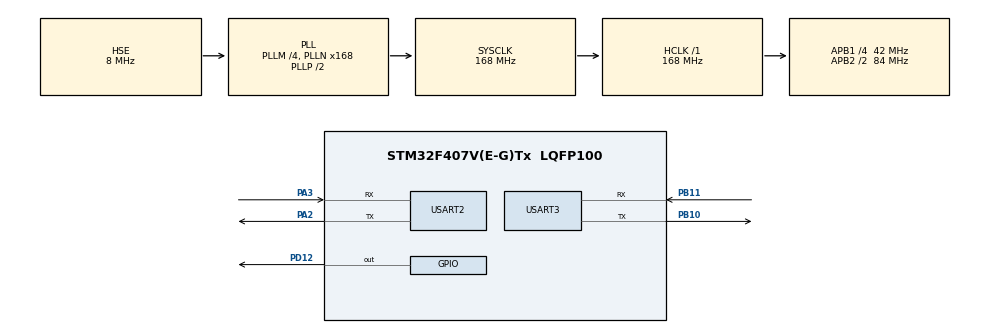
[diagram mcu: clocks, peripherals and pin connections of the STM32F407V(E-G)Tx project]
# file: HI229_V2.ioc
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Dma.Request0=USART2_RX
Dma.USART2_RX.0.Direction=DMA_PERIPH_TO_MEMORY
Dma.USART2_RX.0.FIFOMode=DMA_FIFOMODE_DISABLE
Dma.USART2_RX.0.Instance=DMA1_Stream5
Dma.USART2_RX.0.MemDataAlignment=DMA_MDATAALIGN_BYTE
Dma.USART2_RX.0.MemInc=DMA_MINC_ENABLE
Dma.USART2_RX.0.Mode=DMA_NORMAL
Dma.USART2_RX.0.PeriphDataAlignment=DMA_PDATAALIGN_BYTE
Dma.USART2_RX.0.PeriphInc=DMA_PINC_DISABLE
Dma.USART2_RX.0.Priority=DMA_PRIORITY_LOW
Mcu.Family=STM32F4
Mcu.Name=STM32F407V(E-G)Tx
Mcu.Package=LQFP100
NVIC.DMA1_Stream5_IRQn=true\:0\:0\:false\:false\:true\:false\:true\:true
NVIC.PriorityGroup=NVIC_PRIORITYGROUP_4
NVIC.TIM7_IRQn=true\:0\:0\:false\:false\:true\:true\:true\:true
NVIC.USART2_IRQn=true\:14\:0\:true\:false\:true\:true\:true\:true
NVIC.USART3_IRQn=true\:0\:0\:false\:false\:true\:true\:true\:true
PA2.Mode=Asynchronous
PA2.Signal=USART2_TX
PA3.Mode=Asynchronous
PA3.Signal=USART2_RX
PB10.Mode=Asynchronous
PB10.Signal=USART3_TX
PB11.Mode=Asynchronous
PB11.Signal=USART3_RX
PD12.Signal=GPIO_Output
PH0-OSC_IN.Mode=HSE-External-Oscillator
PH0-OSC_IN.Signal=RCC_OSC_IN
PH1-OSC_OUT.Mode=HSE-External-Oscillator
PH1-OSC_OUT.Signal=RCC_OSC_OUT
ProjectManager.HeapSize=0x200
ProjectManager.StackSize=0x400
ProjectManager.TargetToolchain=MDK-ARM V5.32
RCC.48MHZClocksFreq_Value=84000000
RCC.AHBFreq_Value=168000000
RCC.APB1CLKDivider=RCC_HCLK_DIV4
RCC.APB1Freq_Value=42000000
RCC.APB1TimFreq_Value=84000000
RCC.APB2CLKDivider=RCC_HCLK_DIV2
RCC.APB2Freq_Value=84000000
RCC.APB2TimFreq_Value=168000000
RCC.CortexFreq_Value=168000000
RCC.HCLKFreq_Value=168000000
RCC.HSE_VALUE=8000000
RCC.HSI_VALUE=16000000
RCC.LSE_VALUE=32768
RCC.PLLM=4
RCC.PLLN=168
RCC.PLLSourceVirtual=RCC_PLLSOURCE_HSE
RCC.SYSCLKFreq_VALUE=168000000
RCC.SYSCLKSource=RCC_SYSCLKSOURCE_PLLCLK
RCC.VCOOutputFreq_Value=336000000
TIM7.Period=50000-1
TIM7.Prescaler=336-1
USART2.VirtualMode=VM_ASYNC
USART3.VirtualMode=VM_ASYNC
VP_TIM7_VS_ClockSourceINT.Mode=Enable_Timer
board=custom

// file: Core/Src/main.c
/* USER CODE BEGIN Header */
/**
 ******************************************************************************
 * @file           : main.c
 * @brief          : Main program body
 ******************************************************************************
 * @attention
 *
 * Copyright (c) 2023 STMicroelectronics.
 * All rights reserved.
 *
 * This software is licensed under terms that can be found in the LICENSE file
 * in the root directory of this software component.
 * If no LICENSE file comes with this software, it is provided AS-IS.
 *
 ******************************************************************************
 */
/* USER CODE END Header */
#include "main.h"
#include "dma.h"
#include "tim.h"
#include "usart.h"
#include "gpio.h"

/* USER CODE BEGIN Includes */
#include "stdio.h"
#include "packet.h"
#include "imu_data_decode.h"
/* USER CODE END Includes */

/* USER CODE BEGIN PV */
static uint32_t frame_rate;
static uint8_t usart1_output_flag;
uint8_t Recv_byte;
/* USER CODE END PV */

void SystemClock_Config(void);
/* USER CODE BEGIN PFP */
void dump_data_packet(receive_imusol_packet_t *data); // ??�印?��???
/* USER CODE END PFP */

int main(void)
{
  /* USER CODE BEGIN 1 */
  uint32_t i = 0;
  /* USER CODE END 1 */

  /* MCU Configuration--------------------------------------------------------*/

  /* Reset of all peripherals, Initializes the Flash interface and the Systick. */
  HAL_Init();

  /* Configure the system clock */
  SystemClock_Config();

  /* Initialize all configured peripherals */
  MX_GPIO_Init();
  MX_DMA_Init();
  MX_USART2_UART_Init();
  MX_USART3_UART_Init();
  MX_TIM7_Init();
  /* USER CODE BEGIN 2 */
  HAL_TIM_Base_Start_IT(&htim7);
  imu_data_decode_init();
  HAL_UART_Receive_DMA(&huart2, &Recv_byte, 1);
  /* USER CODE END 2 */

  /* Infinite loop */
  /* USER CODE BEGIN WHILE */
  while (1)
  {
    if (usart1_output_flag)
    {
      usart1_output_flag = 0;
      if (receive_gwsol.tag != KItemGWSOL)
      {
        /* printf imu data packet */
        dump_data_packet(&receive_imusol);
        putchar(10);
      }
      else
      {
        /* printf gw data packet */
        printf("        GW ID:  %-8d\n", receive_gwsol.gw_id);
        for (i = 0; i < receive_gwsol.n; i++)
        {
          dump_data_packet(&receive_gwsol.receive_imusol[i]);
          puts("");
        }
      }
    }

    /* USER CODE END WHILE */

  }
}

void SystemClock_Config(void)
{
  RCC_OscInitTypeDef RCC_OscInitStruct = {0};
  RCC_ClkInitTypeDef RCC_ClkInitStruct = {0};

  /** Configure the main internal regulator output voltage
  */
  __HAL_RCC_PWR_CLK_ENABLE();
  __HAL_PWR_VOLTAGESCALING_CONFIG(PWR_REGULATOR_VOLTAGE_SCALE1);

  /** Initializes the RCC Oscillators according to the specified parameters
  * in the RCC_OscInitTypeDef structure.
  */
  RCC_OscInitStruct.OscillatorType = RCC_OSCILLATORTYPE_HSE;
  RCC_OscInitStruct.HSEState = RCC_HSE_ON;
  RCC_OscInitStruct.PLL.PLLState = RCC_PLL_ON;
  RCC_OscInitStruct.PLL.PLLSource = RCC_PLLSOURCE_HSE;
  RCC_OscInitStruct.PLL.PLLM = 4;
  RCC_OscInitStruct.PLL.PLLN = 168;
  RCC_OscInitStruct.PLL.PLLP = RCC_PLLP_DIV2;
  RCC_OscInitStruct.PLL.PLLQ = 4;
  if (HAL_RCC_OscConfig(&RCC_OscInitStruct) != HAL_OK)
  {
    Error_Handler();
  }

  /** Initializes the CPU, AHB and APB buses clocks
  */
  RCC_ClkInitStruct.ClockType = RCC_CLOCKTYPE_HCLK|RCC_CLOCKTYPE_SYSCLK
                              |RCC_CLOCKTYPE_PCLK1|RCC_CLOCKTYPE_PCLK2;
  RCC_ClkInitStruct.SYSCLKSource = RCC_SYSCLKSOURCE_PLLCLK;
  RCC_ClkInitStruct.AHBCLKDivider = RCC_SYSCLK_DIV1;
  RCC_ClkInitStruct.APB1CLKDivider = RCC_HCLK_DIV4;
  RCC_ClkInitStruct.APB2CLKDivider = RCC_HCLK_DIV2;

  if (HAL_RCC_ClockConfig(&RCC_ClkInitStruct, FLASH_LATENCY_5) != HAL_OK)
  {
    Error_Handler();
  }
}

/* USER CODE BEGIN 4 */
void HAL_TIM_PeriodElapsedCallback(TIM_HandleTypeDef *htim)
{
  if (htim->Instance == TIM7)
  {
    static uint32_t div;
    if (div == 5)
    {
      div = 0;
      frame_rate = frame_count;
      frame_count = 0;
      usart1_output_flag = 1;
    }

    div++;
  }
}

/* printf hi229 or hi226 data packet*/
void dump_data_packet(receive_imusol_packet_t *data)
{
  if (bitmap & BIT_VALID_ID)
    printf("    Device ID:  %-8d\r\n", data->id);
  printf("   Frame Rate: %4dHz\r\n", frame_rate);
  if (bitmap & BIT_VALID_ACC)
    printf("       Acc(G):	%8.3f %8.3f %8.3f\r\n", data->acc[0], data->acc[1], data->acc[2]);
  if (bitmap & BIT_VALID_GYR)
    printf("   gyr(deg/s):	%8.2f %8.2f %8.2f\r\n", data->gyr[0], data->gyr[1], data->gyr[2]);
  if (bitmap & BIT_VALID_MAG)
    printf("      mag(uT):	%8.2f %8.2f %8.2f\r\n", data->mag[0], data->mag[1], data->mag[2]);
  if (bitmap & BIT_VALID_EUL)
    printf("   eul(R P Y):  %8.2f %8.2f %8.2f\r\n", data->eul[0], data->eul[1], data->eul[2]);
  if (bitmap & BIT_VALID_QUAT)
    printf("quat(W X Y Z):  %8.3f %8.3f %8.3f %8.3f\r\n", data->quat[0], data->quat[1], data->quat[2], data->quat[3]);
}

void HAL_UART_RxCpltCallback(UART_HandleTypeDef *huart)
{
  if (huart->Instance == USART2)
  {
    packet_decode(Recv_byte);
    HAL_UART_Receive_DMA(&huart2, &Recv_byte, 1);
  }
}
/* USER CODE END 4 */

void Error_Handler(void)
{
  __disable_irq();
  while (1)
  {
  }
}
